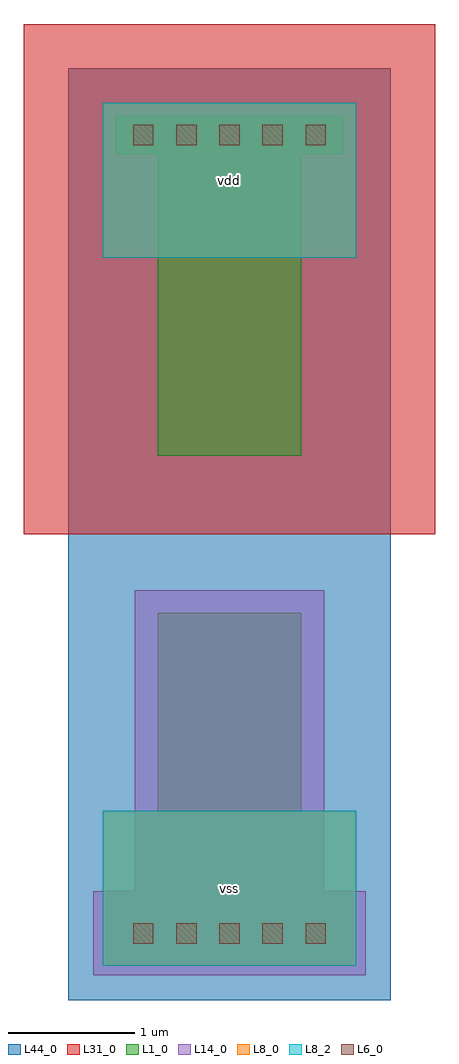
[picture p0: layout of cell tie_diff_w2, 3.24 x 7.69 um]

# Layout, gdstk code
import gdstk
lib = gdstk.Library(unit=1e-6, precision=1e-09)
def R(c, l, rs):  # rectangles x0, y0, x1, y1
    for r in rs: c.add(gdstk.rectangle(r[:2], r[2:], *l))
def A(c, l, x, y, w, h, nx, ny, dx, dy):  # array of equal rectangles
    R(c, l, [(x+i*dx, y+j*dy, x+i*dx+w, y+j*dy+h) for i in range(nx) for j in range(ny)])
def P(c, l, *ps):  # polygons
    for p in ps: c.add(gdstk.Polygon(p, *l))
L1_0 = (1, 0)
L6_0 = (6, 0)
L8_0 = (8, 0)
L8_2 = (8, 2)
L14_0 = (14, 0)
L31_0 = (31, 0)
L44_0 = (44, 0)

tie_diff_w2 = lib.new_cell('tie_diff_w2')
P(tie_diff_w2, L1_0, [(0.435,4.02),(0.435,6.395),(0.105,6.395),(0.105,6.695),(1.895,6.695),(1.895,6.395),(1.565,6.395),(1.565,4.02)],
  [(0.105,0.105),(0.105,0.405),(0.435,0.405),(0.435,2.78),(1.565,2.78),(1.565,0.405),(1.895,0.405),(1.895,0.105)])
A(tie_diff_w2, L6_0, 0.24, 0.175, 0.16, 0.16, 5, 2, 0.34, 6.29)
R(tie_diff_w2, L8_0, [(0,0,2,1.22), (0,5.58,2,6.8)])
R(tie_diff_w2, L8_2, [(0,0,2,1.22), (0,5.58,2,6.8)])
P(tie_diff_w2, L14_0, [(-0.075,-0.075),(-0.075,0.585),(0.255,0.585),(0.255,2.96),(1.745,2.96),(1.745,0.585),(2.075,0.585),(2.075,-0.075)])
R(tie_diff_w2, L31_0, [(-0.62,3.4,2.62,7.42)])
R(tie_diff_w2, L44_0, [(-0.27,-0.27,2.27,7.07)])
tie_diff_w2.add(gdstk.Label('vdd', (1,6.19), layer=8, texttype=2))
tie_diff_w2.add(gdstk.Label('vss', (1,0.61), layer=8, texttype=2))

lib.write_gds('tie_diff_w2.gds')
